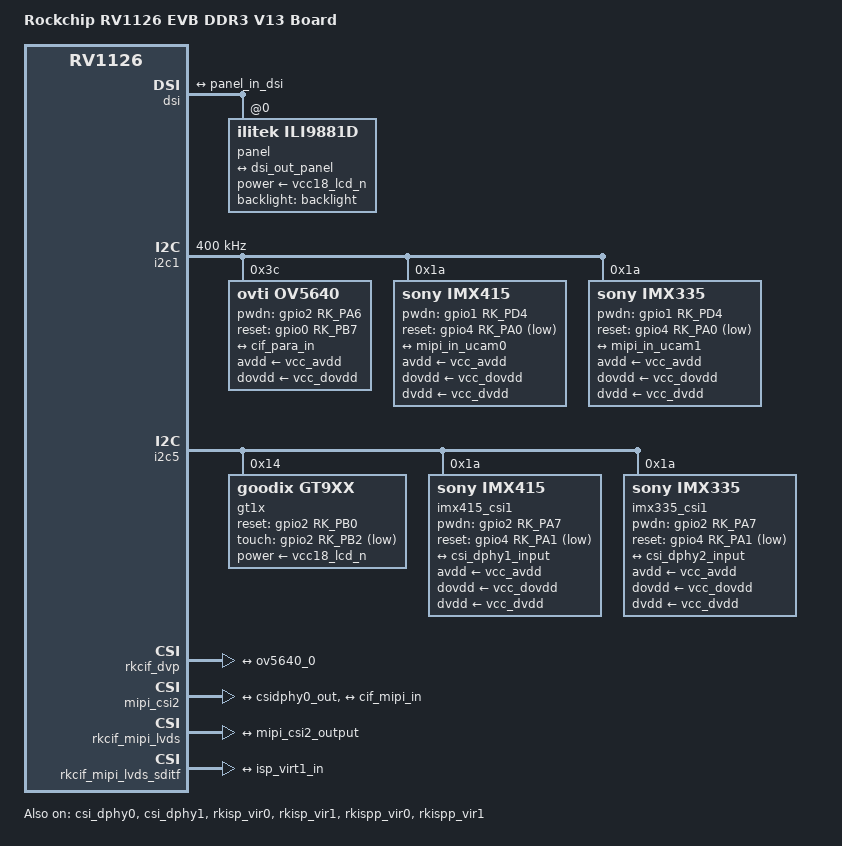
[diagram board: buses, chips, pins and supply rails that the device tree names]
/* SPDX-License-Identifier: (GPL-2.0+ OR MIT)
/*
 * Copyright (c) 2020 Rockchip Electronics Co., Ltd.
 */
/dts-v1/;
#include "rv1126.dtsi"
#include "rv1126-alientek.dtsi"
/ {
    model = "Rockchip RV1126 EVB DDR3 V13 Board";
    compatible = "rockchip,rv1126-evb-ddr3-v13", "rockchip,rv1126";

    chosen {
        bootargs = "earlycon=uart8250,mmio32,0xff570000 console=ttyFIQ0 root=PARTUUID=614e0000-0000 rootfstype=ext4 rootwait snd_aloop.index=7";
    };
};

&dsi {
	status = "okay";

	panel@0 {
		compatible = "ilitek,ili9881d", "simple-panel-dsi";
		reg = <0>;
		backlight = <&backlight>;
		power-supply = <&vcc18_lcd_n>;
		prepare-delay-ms = <5>;
		reset-delay-ms = <1>;
		init-delay-ms = <80>;
		disable-delay-ms = <10>;
		unprepare-delay-ms = <5>;

		width-mm = <68>;
		height-mm = <121>;

		dsi,flags = <(MIPI_DSI_MODE_VIDEO | MIPI_DSI_MODE_VIDEO_BURST |
			      MIPI_DSI_MODE_LPM | MIPI_DSI_MODE_EOT_PACKET)>;
		dsi,format = <MIPI_DSI_FMT_RGB888>;
		dsi,lanes = <4>;

		panel-init-sequence = [
            39 05 04 FF 98 81 03
            05 05 02 01 00
            05 05 02 02 00
            05 05 02 03 53
            05 05 02 04 D3
            05 05 02 05 00
            05 05 02 06 0D
            05 05 02 07 08
            05 05 02 08 00
            05 05 02 09 00
            05 05 02 0a 00
            05 05 02 0b 00
            05 05 02 0c 00
            05 05 02 0d 00
            05 05 02 0e 00
            05 05 02 0f 28
            05 05 02 10 28
            05 05 02 11 00
            05 05 02 12 00
            05 05 02 13 00
            05 05 02 14 00
            05 05 02 15 00
            05 05 02 16 00
            05 05 02 17 00
            05 05 02 18 00
            05 05 02 19 00
            05 05 02 1a 00
            05 05 02 1b 00
            05 05 02 1c 00
            05 05 02 1d 00
            05 05 02 1e 40
            05 05 02 1f 80
            05 05 02 20 06
            05 05 02 21 01
            05 05 02 22 00
            05 05 02 23 00
            05 05 02 24 00
            05 05 02 25 00
            05 05 02 26 00
            05 05 02 27 00
            05 05 02 28 33
            05 05 02 29 33
            05 05 02 2a 00
            05 05 02 2b 00
            05 05 02 2c 00
            05 05 02 2d 00
            05 05 02 2e 00
            05 05 02 2f 00
            05 05 02 30 00
            05 05 02 31 00
            05 05 02 32 00
            05 05 02 33 00
            05 05 02 34 03
            05 05 02 35 00
            05 05 02 36 00
            05 05 02 37 00
            05 05 02 38 96
            05 05 02 39 00
            05 05 02 3a 00
            05 05 02 3b 00
            05 05 02 3c 00
            05 05 02 3d 00
            05 05 02 3e 00
            05 05 02 3f 00
            05 05 02 40 00
            05 05 02 41 00
            05 05 02 42 00
            05 05 02 43 00
            05 05 02 44 00
            05 05 02 50 00
            05 05 02 51 23
            05 05 02 52 45
            05 05 02 53 67
            05 05 02 54 89
            05 05 02 55 AB
            05 05 02 56 01
            05 05 02 57 23
            05 05 02 58 45
            05 05 02 59 67
            05 05 02 5a 89
            05 05 02 5b AB
            05 05 02 5c CD
            05 05 02 5d EF
            05 05 02 5e 00
            05 05 02 5f 08
            05 05 02 60 08
            05 05 02 61 06
            05 05 02 62 06
            05 05 02 63 01
            05 05 02 64 01
            05 05 02 65 00
            05 05 02 66 00
            05 05 02 67 02
            05 05 02 68 15
            05 05 02 69 15
            05 05 02 6a 14
            05 05 02 6b 14
            05 05 02 6c 0D
            05 05 02 6d 0D
            05 05 02 6e 0C
            05 05 02 6f 0C
            05 05 02 70 0F
            05 05 02 71 0F
            05 05 02 72 0E
            05 05 02 73 0E
            05 05 02 74 02
            05 05 02 75 08
            05 05 02 76 08
            05 05 02 77 06
            05 05 02 78 06
            05 05 02 79 01
            05 05 02 7a 01
            05 05 02 7b 00
            05 05 02 7c 00
            05 05 02 7d 02
            05 05 02 7e 15
            05 05 02 7f 15
            05 05 02 80 14
            05 05 02 81 14
            05 05 02 82 0D
            05 05 02 83 0D
            05 05 02 84 0C
            05 05 02 85 0C
            05 05 02 86 0F
            05 05 02 87 0F
            05 05 02 88 0E
            05 05 02 89 0E
            05 05 02 8A 02
            39 05 04 FF 98 81 04
            05 05 02 6E 2B
            05 05 02 6F 37
            05 05 02 3A 24
            05 05 02 8D 1A
            05 05 02 87 BA
            05 05 02 B2 D1
            05 05 02 88 0B
            05 05 02 38 01
            05 05 02 39 00
            05 05 02 B5 02
            05 05 02 31 25
            05 05 02 3B 98
            39 05 04 FF 98 81 01
            05 05 02 22 0A
            05 05 02 31 00
            05 05 02 53 3D
            05 05 02 55 3D
            05 05 02 50 B5
            05 05 02 51 AD
            05 05 02 60 06
            05 05 02 62 20
            05 05 02 A0 00
            05 05 02 A1 21
            05 05 02 A2 35
            05 05 02 A3 19
            05 05 02 A4 1E
            05 05 02 A5 33
            05 05 02 A6 27
            05 05 02 A7 26
            05 05 02 A8 AF
            05 05 02 A9 1B
            05 05 02 AA 27
            05 05 02 AB 8D
            05 05 02 AC 1A
            05 05 02 AD 1B
            05 05 02 AE 50
            05 05 02 AF 26
            05 05 02 B0 2B
            05 05 02 B1 54
            05 05 02 B2 5E
            05 05 02 B3 23
            05 05 02 C0 00
            05 05 02 C1 21
            05 05 02 C2 35
            05 05 02 C3 19
            05 05 02 C4 1E
            05 05 02 C5 33
            05 05 02 C6 27
            05 05 02 C7 26
            05 05 02 C8 AF
            05 05 02 C9 1B
            05 05 02 CA 27
            05 05 02 CB 8D
            05 05 02 CC 1A
            05 05 02 CD 1B
            05 05 02 CE 50
            05 05 02 CF 26
            05 05 02 D0 2B
            05 05 02 D1 54
            05 05 02 D2 5E
            05 05 02 D3 23
            39 05 04 FF 98 81 00
            05 05 02 11 00
            05 78 02 29 00
            05 78 02 35 00
        ];

		display-timings {
            native-mode = <&timing0>;
			timing0: timing0 {
				clock-frequency = <67000000>;
				hactive = <800>;
				vactive = <1280>;
				hfront-porch = <12>;
				hsync-len = <24>;
				hback-porch = <24>;
				vfront-porch = <7>;
				vsync-len = <2>;
				vback-porch = <9>;
				hsync-active = <0>;
				vsync-active = <0>;
				de-active = <0>;
				pixelclk-active = <0>;
			};
		};

        
		ports {
			#address-cells = <1>;
			#size-cells = <0>;

			port@0 {
				reg = <0>;
				panel_in_dsi: endpoint {
					remote-endpoint = <&dsi_out_panel>;
				};
			};
		};
	};

	ports {
		#address-cells = <1>;
		#size-cells = <0>;

		port@1 {
			reg = <1>;
			dsi_out_panel: endpoint {
				remote-endpoint = <&panel_in_dsi>;
			};
		};
	};
};

&csi_dphy0 {
    status = "okay";

    ports {
        #address-cells = <1>;
        #size-cells = <0>;
        port@0 {
            reg = <0>;
            #address-cells = <1>;
            #size-cells = <0>;

            mipi_in_ucam0: endpoint@1 {
                reg = <1>;
                remote-endpoint = <&ucam_out0>;
                data-lanes = <1 2 3 4>;
            };

            mipi_in_ucam1: endpoint@2 {
                reg = <2>;
                remote-endpoint = <&ucam_out1>;
                data-lanes = <1 2 3 4>;
            };
        };
        port@1 {
            reg = <1>;
            #address-cells = <1>;
            #size-cells = <0>;

            csidphy0_out: endpoint@0 {
                reg = <0>;
                remote-endpoint = <&mipi_csi2_input>;
            };
        };
    };
};

&csi_dphy1 {
    status = "okay";

    ports {
        #address-cells = <1>;
        #size-cells = <0>;

        port@0 {
            reg = <0>;
            #address-cells = <1>;
            #size-cells = <0>;

            csi_dphy1_input: endpoint@1 {
                reg = <1>;
                remote-endpoint = <&ucam_out2>;
                data-lanes = <1 2 3 4>;
            };

            csi_dphy2_input: endpoint@2 {
                reg = <2>;
                remote-endpoint = <&ucam_out3>;
                data-lanes = <1 2 3 4>;
            };
        };

        port@1 {
            reg = <1>;
            #address-cells = <1>;
            #size-cells = <0>;

            csi_dphy1_output: endpoint@0 {
                reg = <0>;
                remote-endpoint = <&isp_in>;
                data-lanes = <1 2 3 4>;
            };
        };
    };
};


&i2c1 {
	status = "okay";
	clock-frequency = <400000>;
    ov5640: camera@3c {
        compatible = "ovti,ov5640";
        reg = <0x3c>;
        clocks = <&cru CLK_CIF_OUT>;
        clock-names = "xvclk";
        avdd-supply = <&vcc_avdd>;
        dovdd-supply = <&vcc_dovdd>;
        pwdn-gpios = <&gpio2 RK_PA6 GPIO_ACTIVE_HIGH>;
        reset-gpios = <&gpio0 RK_PB7 GPIO_ACTIVE_HIGH>;
        pinctrl-names = "default";
        pinctrl-0 = <&cifm0_dvp_ctl>;
        status = "okay";
        rockchip,camera-module-index = <0>;
        rockchip,camera-module-facing = "back";
        rockchip,camera-module-name = "CameraKing";
        rockchip,camera-module-lens-name = "Largan";
        port {
            ov5640_0: endpoint {
                remote-endpoint = <&cif_para_in>;
            };
        };
    };

    imx415: imx415@1a {
        compatible = "sony,imx415";
        reg = <0x1a>;
        clocks = <&cru CLK_MIPICSI_OUT>;
        clock-names = "xvclk";
        power-domains = <&power RV1126_PD_VI>;
        pinctrl-names = "rockchip,camera_default";
        pinctrl-0 = <&mipicsi_clk0>;
        avdd-supply = <&vcc_avdd>;
        dovdd-supply = <&vcc_dovdd>;
        dvdd-supply = <&vcc_dvdd>;
        pwdn-gpios = <&gpio1 RK_PD4 GPIO_ACTIVE_HIGH>;
        reset-gpios = <&gpio4 RK_PA0 GPIO_ACTIVE_LOW>;
        rockchip,camera-module-index = <0>;
        rockchip,camera-module-facing = "front";
        rockchip,camera-module-name = "YT10092";
        rockchip,camera-module-lens-name = "IR0147-60IRC-8M-F20-hdr3";
        port {
            ucam_out0: endpoint {
                remote-endpoint = <&mipi_in_ucam0>;
                data-lanes = <1 2 3 4>;
            };
        };
    };

    imx335: imx335@1a {
        compatible = "sony,imx335";
        reg = <0x1a>;
        clocks = <&cru CLK_MIPICSI_OUT>;
        clock-names = "xvclk";
        power-domains = <&power RV1126_PD_VI>;
        pinctrl-names = "rockchip,camera_default";
        pinctrl-0 = <&mipicsi_clk0>;
        avdd-supply = <&vcc_avdd>;
        dovdd-supply = <&vcc_dovdd>;
        dvdd-supply = <&vcc_dvdd>;
        pwdn-gpios = <&gpio1 RK_PD4 GPIO_ACTIVE_HIGH>;
        reset-gpios = <&gpio4 RK_PA0 GPIO_ACTIVE_LOW>;
        rockchip,camera-module-index = <0>;
        rockchip,camera-module-facing = "front";
        rockchip,camera-module-name = "MTV4-IR-E-P";
        rockchip,camera-module-lens-name = "40IRC-4MP-F16";
        port {
            ucam_out1: endpoint {
                remote-endpoint = <&mipi_in_ucam1>;
                data-lanes = <1 2 3 4>;
            };
        };
    };
};

&i2c5 {
    gt1x: gt1x@14 {
        compatible = "goodix,gt9xx";
        reg = <0x14>;
        gtp_ics_slot_report;
        pinctrl-names = "default";
        pinctrl-0 = <&touch_gpio>;
        power-supply = <&vcc18_lcd_n>;
        reset-gpio = <&gpio2 RK_PB0 GPIO_ACTIVE_HIGH>;
        touch-gpio = <&gpio2 RK_PB2 GPIO_ACTIVE_LOW>;
        tp-size = <89>;
        status = "okay";
    };

    imx415_csi1: imx415@1a {
        compatible = "sony,imx415";
        reg = <0x1a>;
        clocks = <&cru CLK_MIPICSI_OUT>;
        clock-names = "xvclk";
        power-domains = <&power RV1126_PD_VI>;
        pinctrl-names = "rockchip,camera_default";
        pinctrl-0 = <&mipicsi_clk1>;
        avdd-supply = <&vcc_avdd>;
        dovdd-supply = <&vcc_dovdd>;
        dvdd-supply = <&vcc_dvdd>;
        pwdn-gpios = <&gpio2 RK_PA7 GPIO_ACTIVE_HIGH>;
        reset-gpios = <&gpio4 RK_PA1 GPIO_ACTIVE_LOW>;
        rockchip,camera-module-index = <1>;
        rockchip,camera-module-facing = "front";
        rockchip,camera-module-name = "YT10092";
        rockchip,camera-module-lens-name = "IR0147-60IRC-8M-F20-hdr3";
        port {
            ucam_out2: endpoint {
                remote-endpoint = <&csi_dphy1_input>;
                data-lanes = <1 2 3 4>;
            };
        };
    };

    imx335_csi1: imx335-csi@1a {
        compatible = "sony,imx335";
        reg = <0x1a>;
        clocks = <&cru CLK_MIPICSI_OUT>;
        clock-names = "xvclk";
        power-domains = <&power RV1126_PD_VI>;
        pinctrl-names = "rockchip,camera_default";
        pinctrl-0 = <&mipicsi_clk1>;
        avdd-supply = <&vcc_avdd>;
        dovdd-supply = <&vcc_dovdd>;
        dvdd-supply = <&vcc_dvdd>;
        pwdn-gpios = <&gpio2 RK_PA7 GPIO_ACTIVE_HIGH>;
        reset-gpios = <&gpio4 RK_PA1 GPIO_ACTIVE_LOW>;
        rockchip,camera-module-index = <1>;
        rockchip,camera-module-facing = "front";
        rockchip,camera-module-name = "MTV4-IR-E-P";
        rockchip,camera-module-lens-name = "40IRC-4MP-F16";
        port {
            ucam_out3: endpoint {
                remote-endpoint = <&csi_dphy2_input>;
                data-lanes = <1 2 3 4>;
            };
        };
    };

};

&rkcif_dvp {
    status = "okay";
    port {
        /* Parallel bus endpoint */
        cif_para_in: endpoint {
            remote-endpoint = <&ov5640_0>;
            bus-width = <12>;
            hsync-active = <1>;
            vsync-active = <1>;
            pclk-sample = <0>;
        };
    };
};

&isp_reserved {
    size = <0x20000000>;
};
&mipi_csi2 {
    status = "okay";

    ports {
        #address-cells = <1>;
        #size-cells = <0>;

        port@0 {
            reg = <0>;
            #address-cells = <1>;
            #size-cells = <0>;

            mipi_csi2_input: endpoint@1 {
                reg = <1>;
                remote-endpoint = <&csidphy0_out>;
                data-lanes = <1 2 3 4>;
            };
        };

        port@1 {
            reg = <1>;
            #address-cells = <1>;
            #size-cells = <0>;

            mipi_csi2_output: endpoint@0 {
                reg = <0>;
                remote-endpoint = <&cif_mipi_in>;
                data-lanes = <1 2 3 4>;
            };
        };
    };
};

&rkcif_mipi_lvds {
    status = "okay";

    port {
        /* MIPI CSI-2 endpoint */
        cif_mipi_in: endpoint {
            remote-endpoint = <&mipi_csi2_output>;
            data-lanes = <1 2 3 4>;
        };
    };
};

&rkcif_mipi_lvds_sditf {
    status = "okay";

    port {
        /* MIPI CSI-2 endpoint */
        cif_sditf: endpoint {
            remote-endpoint = <&isp_virt1_in>;
            data-lanes = <1 2 3 4>;
        };
    };
};

&rkisp_vir0 {
    status = "okay";

    ports {
        port@0 {
            reg = <0>;
            #address-cells = <1>;
            #size-cells = <0>;

            isp_virt1_in: endpoint@0 {
                reg = <0>;
                remote-endpoint = <&cif_sditf>;
            };
        };
    };
};

&rkisp_vir1 {
    status = "okay";
    ports {
        port@0 {
            reg = <0>;
            #address-cells = <1>;
            #size-cells = <0>;

            isp_in: endpoint@0 {
                reg = <0>;
                remote-endpoint = <&csi_dphy1_output>;
            };
        };
    };
};


&rkispp_vir0 {
	status = "okay";
};

&rkispp_vir1 {
	status = "okay";
};

&isp_reserved {
    size = <0x20000000>;
};

&rkispp {
	max-input = <3840 2160 30>;
};
